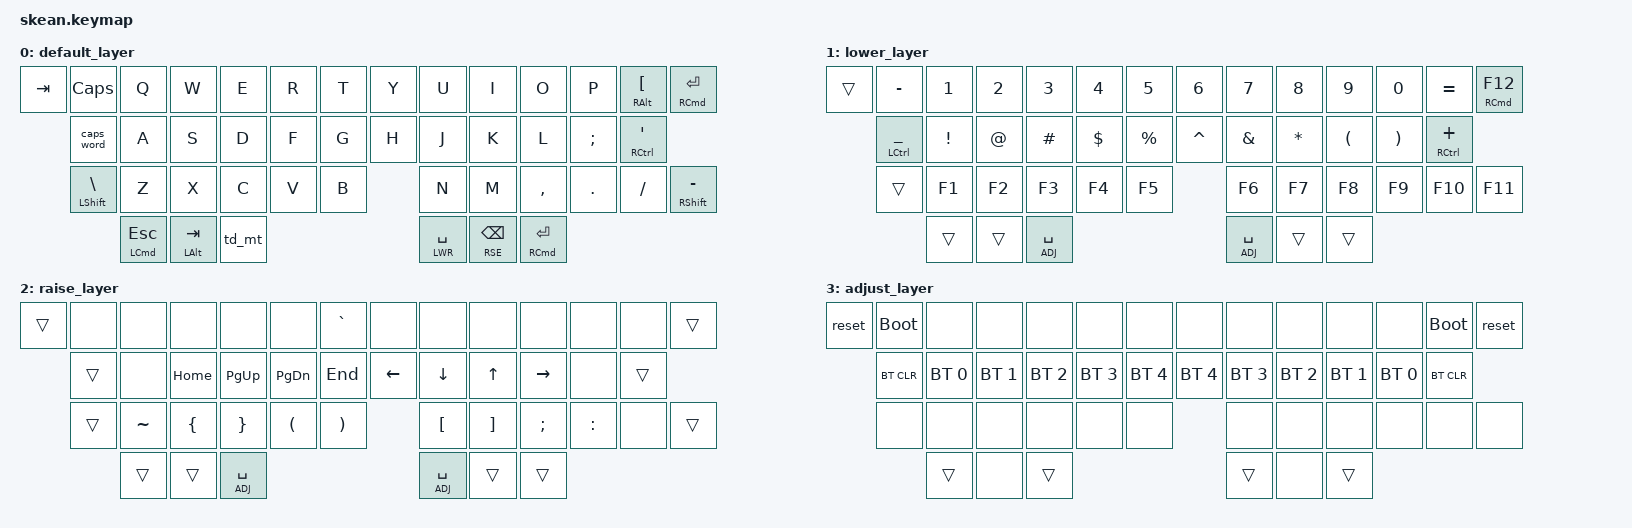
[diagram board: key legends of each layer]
/*
 * Copyright (c) 2020 The ZMK Contributors
 *
 * SPDX-License-Identifier: MIT
 */

#include <behaviors.dtsi>
#include <dt-bindings/zmk/keys.h>
#include <dt-bindings/zmk/bt.h>

#define DEF 0
#define LWR 1
#define RSE 2
#define ADJ 3

&lt { quick_tap_ms = <200>; };
&mt { quick_tap_ms = <200>; };
&caps_word {
    continue-list = <UNDERSCORE MINUS FSLH DOT COMMA SEMI SQT LBKT>;
};

/ {
    
    macros {
        comma_space: comma_space {
            label = "ZM_comma_space";
            compatible = "zmk,behavior-macro";
            #binding-cells = <0>;
            wait-ms = <40>;
            tap-ms = <40>;
            bindings
                = <&kp KP_DOT &kp RETURN>
                ;
        };
    };
    
    behaviors {
        td_mt: tap_dance_mod_tap {
            compatible = "zmk,behavior-tap-dance";
            label = "TAP_DANCE_MOD_TAP";
            #binding-cells = <0>;
            tapping-term-ms = <200>;
            bindings = <&lt RSE SPACE>, <&comma_space>;
        };
    };
        keymap {
                compatible = "zmk,keymap";

                default_layer {
// -----------------------------------------------------------------------------------------
// |  GUI |   ~  |  Q  |  W  |  E  |  R  |  T  |   |  Y  |  U   |  I  |  O  |  P  |  [   | GUI/] |
//        | CTRL |  A  |  S  |  D  |  F  |  G  |   |  H  |  J   |  K  |  L  |  ;  |CTRL/'|
//        | LSHIFT |  Z  |  X  |  C  |  V  |  B  |   |  N  |  M   |  ,  |  .  |  /  | RALT |
//                           | RSE | SPC | LWR |   | LWR | BKSP | RSE |
                        bindings = <
   &kp TAB  &kp CAPS   &kp Q &kp W &kp E &kp R &kp T &kp Y         &kp U  &kp I     &kp O   &kp P    &mt RALT LBKT &mt RCMD RETURN
            &caps_word &kp A &kp S &kp D &kp F &kp G &kp H         &kp J  &kp K     &kp L   &kp SEMI &mt RCTRL SQT
            &mt LSHIFT BSLH  &kp Z &kp X &kp C &kp V &kp B &kp N         &kp M  &kp COMMA &kp DOT &kp FSLH &mt RSHFT MINUS
                         &mt LCMD ESC &mt LALT TAB &td_mt &lt LWR SPACE &lt RSE BSPC &mt RCMD RETURN
                        >;
                };
                lower_layer {
// -----------------------------------------------------------------------------------------
// |     |  _  |  F1 |  F2 |  F3 |  F4 |  F5 |   |  F6 |  F7 |  F8 |  F9 | F10 | F11 | F12 |
//       |  +  |  !  |  @  |  #  |  $  |  %  |   |  ^  |  &  |  *  |  (  |  )  |  -  |
//       |  =  |  1  |  2  |  3  |  4  |  5  |   |  6  |  7  |  8  |  9  |  0  |     |
//                    | GUI |     | SPC |   | ENT |     | ALT |
                        bindings = <
   &trans &kp MINUS      &kp N1   &kp N2 &kp N3   &kp N4   &kp N5           &kp N6    &kp N7   &kp N8   &kp N9   &kp N0  &kp EQUAL &mt RCMD F12
          &mt LCTRL UNDER &kp EXCL &kp AT &kp HASH &kp DLLR &kp PRCNT        &kp CARET &kp AMPS &kp STAR &kp LPAR &kp RPAR &mt RCTRL PLUS
          &trans  &kp F1   &kp F2 &kp F3   &kp F4   &kp F5           &kp F6    &kp F7   &kp F8   &kp F9   &kp F10   &kp F11
                                              &trans &trans &lt ADJ SPACE   &lt ADJ SPACE &trans &trans
                        >;
                };

                raise_layer {
// -----------------------------------------------------------------------------------------
// |     | NMLK |  /  |  7  |  8  |  9  |  -  |   | VOLU| HOME| PRSC| PGUP| SCLK| CLCK|     |
//       | CTRL |  *  |  4  |  5  |  6  |  +  |   | MUT | LEFT|  UP | RGHT| INS | APP |
//       |      |  0  |  1  |  2  |  3  |  .  |   | VOLD| END | DOWN| PGDN| PAUS|     |
//                          |     |     | ADJ |   | ADJ |     |     |
                        bindings = <
   &trans &none      &none    &none &none &none &kp GRAVE        &none &none &none  &none  &none  &none  &trans
          &trans &none &kp HOME &kp PAGE_UP  &kp PAGE_DOWN &kp END         &kp LEFT   &kp DOWN &kp UP    &kp RIGHT &none  &trans
          &trans          &kp TILDE       &kp LBRC &kp RBRC &kp LPAR &kp RPAR          &kp LBKT &kp RBKT  &kp SEMI  &kp COLON &none &trans
                                                           &trans &trans &lt ADJ SPACE   &lt ADJ SPACE &trans &trans
                        >;
                };
                adjust_layer {
// -----------------------------------------------------------------------------------------
// | RST | BLDR |     |     |     |     |     |   |     |     |     |     |     | BLDR | RST |
//       | BTCLR| BT0 | BT1 | BT2 | BT3 | BT4 |   | BT4 | BT3 | BT2 | BT1 | BT0 | BTCLR|
//       |      |     |     |     |     |     |   |     |     |     |     |     |      |
//                          |     |     |     |   |     |     |     |
                        bindings = <
   &reset &bootloader  &none        &none        &none        &none        &none              &none        &none        &none        &none        &none         &bootloader &reset
          &bt BT_CLR   &bt BT_SEL 0 &bt BT_SEL 1 &bt BT_SEL 2 &bt BT_SEL 3 &bt BT_SEL 4       &bt BT_SEL 4 &bt BT_SEL 3 &bt BT_SEL 2 &bt BT_SEL 1 &bt BT_SEL 0  &bt BT_CLR
          &none        &none        &none        &none        &none        &none              &none        &none        &none        &none        &none         &none
                                                                    &trans &none &trans   &trans &none &trans
                        >;
                };
        };
};
